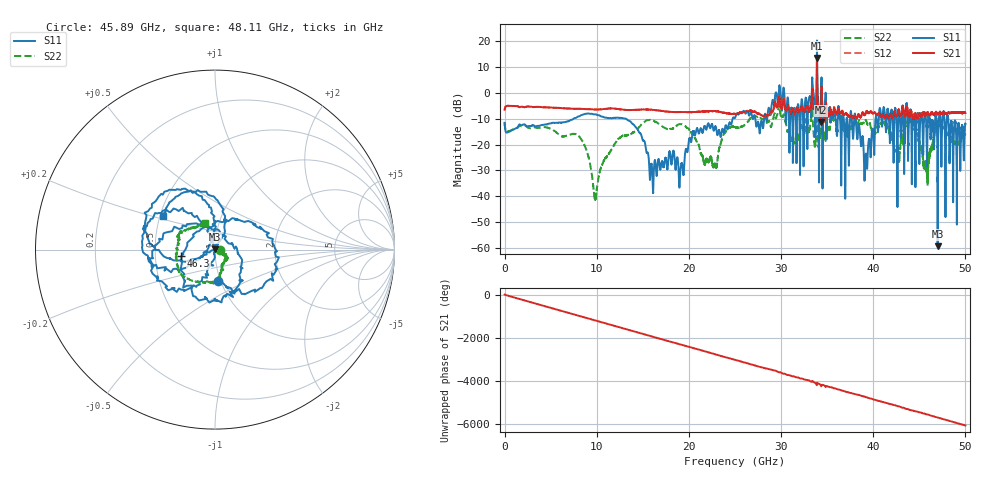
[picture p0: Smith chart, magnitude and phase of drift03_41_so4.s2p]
!Created with skrf (http://scikit-rf.org).
# Hz S RI R 50.0
!freq ReS11 ImS11 ReS21 ImS21 ReS12 ImS12 ReS22 ImS22
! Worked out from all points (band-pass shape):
!   10001 points, 300 kHz to 50 GHz, reference 50 ohm
!   highest |S21| = 13.50 dB at 33.9 GHz (marker M1); lowest = -11.4 dB at 34.32 GHz (marker M2)
!   |S21| within 3 dB of the highest: 33.8901 GHz to 33.90418 GHz (14.08 MHz wide, 0.0415 % of centre)
!   lowest |S11| = -59.3 dB at 46.99 GHz (marker M3), VSWR 1.00, Z = 50.1 + j0.0951 ohm
!   |S11| at or under -10 dB: start of sweep to 7.488 GHz; 13.13 GHz to 24.74 GHz (11.62 GHz wide, 61.3 % of centre); 38.09 GHz to 40.26 GHz (2.165 GHz wide, 5.53 % of centre) (the widest 3 of 45)
!   |S22| runs from -41.3 to 5.9 dB; largest |S21 - S12| = 0.36
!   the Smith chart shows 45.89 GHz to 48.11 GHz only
!   S11 on the Smith chart (normalised r, x): 45.89 GHz: 0.97, -0.35; 46.3 GHz: 0.68, -0.05; 48.11 GHz: 0.52, +0.22
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300000  -0.2344 -0.1191  0.4646 0.0786  0.4643 0.0789  -0.2361 -0.1236
1.440291e9  0.2101 0.0649  -0.5479 -0.0297  -0.548 -0.0291  0.2114 -0.00415
2.915283e9  -0.2121 -0.088  0.5342 0.0519  0.5345 0.0518  -0.2023 0.04
4.415274e9  0.206 0.1323  -0.5217 -0.0427  -0.5219 -0.0421  0.1983 -0.0872
8.33525e9  0.2883 -0.2329  0.1459 0.4657  0.1459 0.4666  -0.0726 -0.1013
9.850241e9  -0.3624 0.1319  -0.1525 -0.4507  -0.1527 -0.451  0.00838 0.00211
1.115523e10  0.3166 0.0825  -0.0441 0.4907  -0.0443 0.4907  -0.0474 0.0384
1.66702e10  0.0274 0.0437  -0.3789 0.2538  -0.379 0.2528  -0.1275 -0.2199
2.500015e10  -0.3258 -0.0157  -0.2545 -0.297  -0.2533 -0.2987  -0.2133 0.0264
2.895513e10  -0.3266 0.4317  -0.2901 0.3253  -0.2992 0.2892  0.0643 0.2202
3.006512e10  0.3991 0.2669  0.4501 -0.1947  0.4541 -0.1822  0.1758 -0.2974
3.171011e10  -0.0911 0.186  -0.3627 0.3559  -0.3608 0.3549  0.0652 0.1577
3.33351e10  0.6173 -0.832  0.2434 -0.8461  0.2483 -0.8263  -0.1923 -0.4213
3.38951e10  -3.124 -9.783  -4.609 1.073  -4.305 1.266  0.6198 1.878
3.432009e10  -0.7785 0.000123  -0.1811 0.1979  -0.2424 0.1773  0.1429 -0.0721
3.919506e10  0.0642 0.0139  0.2043 -0.3594  0.2123 -0.3506  -0.2698 -0.1219
4.167005e10  -0.2031 0.3044  0.3145 0.00321  0.3159 0.0104  -0.1937 -0.00594
4.589002e10  0.0156 -0.1761  -0.3557 -0.2254  -0.3548 -0.227  0.0266 -2e-06
4.629502e10  -0.187 -0.0367  -0.3818 0.1434  -0.382 0.1363  0.0593 -0.0584
4.699002e10  0.000522 0.00095  0.0963 0.3731  0.095 0.372  -0.1267 -0.1741
4.811001e10  -0.2915 0.1878  0.2011 -0.3595  0.2024 -0.3565  -0.0564 0.146
5e10  -0.1176 -0.225  0.1397 0.3841  0.14 0.3845  -0.0555 -0.1457
